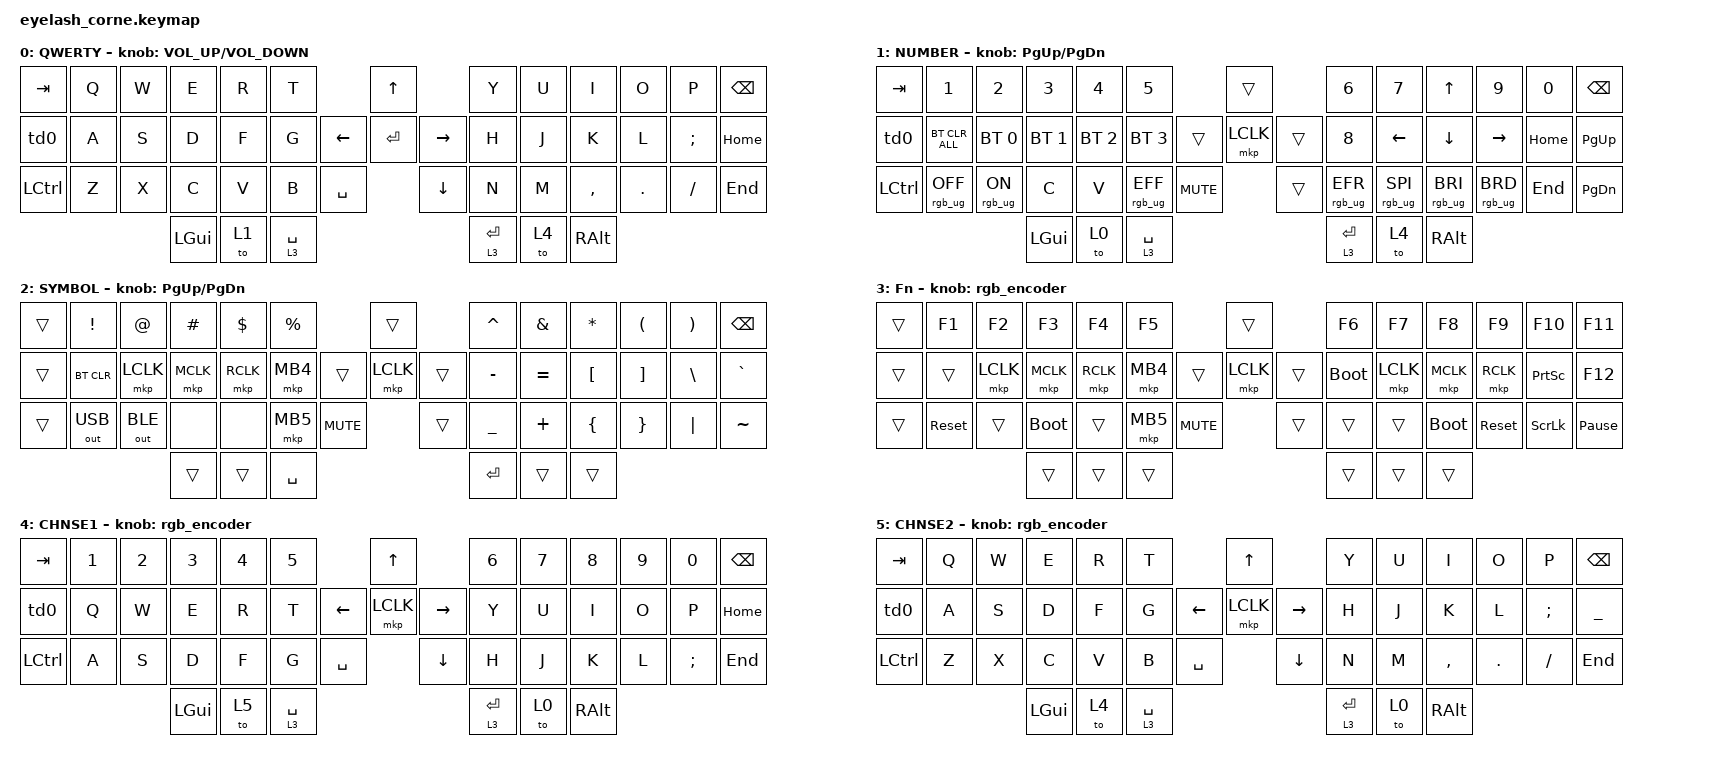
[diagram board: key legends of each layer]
#include <behaviors.dtsi>
#include <dt-bindings/zmk/bt.h>
#include <dt-bindings/zmk/keys.h>
#include <dt-bindings/zmk/mouse.h>
#include <dt-bindings/zmk/outputs.h>
#include <dt-bindings/zmk/rgb.h>

/ {
    behaviors {
        td0: td0 {
            compatible = "zmk,behavior-tap-dance";
            #binding-cells = <0>;
            bindings = <&kp LEFT_SHIFT>, <&kp CAPS>;
        };
    };

    rgb_encoder: rgb_encoder {
        compatible = "zmk,behavior-sensor-rotate";
        #sensor-binding-cells = <0>;
        bindings = <&rgb_ug RGB_BRI>, <&rgb_ug RGB_BRD>;
    };

    keymap {
        compatible = "zmk,keymap";

        default_layer {
            display-name = "QWERTY";

            bindings = <
&kp TAB    &kp Q  &kp W      &kp E     &kp R  &kp T                              &kp UP                &kp Y        &kp U  &kp I      &kp O    &kp P     &kp BSPC
&td0       &kp A  &kp S      &kp D     &kp F  &kp G                    &kp LEFT  &kp ENTER  &kp RIGHT  &kp H        &kp J  &kp K      &kp L    &kp SEMI  &kp HOME 
&kp LCTRL  &kp Z  &kp X      &kp C     &kp V  &kp B       &kp SPACE              &kp DOWN              &kp N        &kp M  &kp COMMA  &kp DOT  &kp FSLH  &kp END
                             &kp LGUI  &to 1  &lt 3 SPACE                                              &lt 3 ENTER  &to 4  &kp RALT
            >;

            sensor-bindings = <&inc_dec_kp C_VOLUME_UP C_VOLUME_DOWN>;
        };

        lower_layer {
            display-name = "NUMBER";
            bindings = <
&kp TAB    &kp N1           &kp N2          &kp N3        &kp N4        &kp N5                                &trans            &kp N6           &kp N7           &kp UP           &kp N9           &kp N0    &kp BSPC
&td0       &bt BT_CLR_ALL   &bt BT_SEL 0    &bt BT_SEL 1  &bt BT_SEL 2  &bt BT_SEL 3                  &trans  &mkp LCLK  &trans &kp N8         &kp LEFT         &kp DOWN           &kp RIGHT        &kp HOME  &kp PG_UP
&kp LCTRL  &rgb_ug RGB_OFF  &rgb_ug RGB_ON  &kp C         &kp V         &rgb_ug RGB_EFF &kp C_MUTE            &trans            &rgb_ug RGB_EFR  &rgb_ug RGB_SPI  &rgb_ug RGB_BRI  &rgb_ug RGB_BRD  &kp END   &kp PG_DN
                                            &kp LGUI      &to 0  &lt 3 SPACE                                              &lt 3 ENTER  &to 4  &kp RALT
            >;

            sensor-bindings = <&inc_dec_kp PG_UP PG_DN>;
        };

        raise_layer {
            display-name = "SYMBOL";
            bindings = <
&trans  &kp EXCL      &kp AT        &kp HASH   &kp DLLR   &kp PRCNT                       &trans            &kp CARET  &kp AMPS   &kp ASTRK  &kp LPAR  &kp RPAR  &kp BSPC
&trans  &bt BT_CLR    &mkp LCLK     &mkp MCLK  &mkp RCLK  &mkp MB4                &trans  &mkp LCLK  &trans &kp MINUS  &kp EQUAL  &kp LBKT   &kp RBKT  &kp BSLH  &kp GRAVE
&trans  &out OUT_USB  &out OUT_BLE  &none      &none      &mkp MB5  &kp C_MUTE            &trans            &kp UNDER  &kp PLUS   &kp LBRC   &kp RBRC  &kp PIPE  &kp TILDE
                                    &trans     &trans     &kp SPACE                                         &kp RET    &trans     &trans
            >;

            sensor-bindings = <&inc_dec_kp PG_UP PG_DN>;
        };

        layer_3 {
            display-name = "Fn";
            bindings = <
&trans  &kp F1      &kp F2      &kp F3       &kp F4     &kp F5                         &trans            &kp F6       &kp F7     &kp F8       &kp F9      &kp F10          &kp F11
&trans  &trans      &mkp LCLK   &mkp MCLK    &mkp RCLK  &mkp MB4               &trans  &mkp LCLK  &trans &bootloader  &mkp LCLK  &mkp MCLK    &mkp RCLK   &kp PRINTSCREEN  &kp F12
&trans  &sys_reset  &trans      &bootloader  &trans     &mkp MB5 &kp C_MUTE            &trans            &trans       &trans     &bootloader  &sys_reset  &kp SCROLLLOCK   &kp PAUSE_BREAK
                                &trans      &trans      &trans                                           &trans       &trans     &trans
            >;

            sensor-bindings = <&rgb_encoder>;
        };
        layer_4 {
            display-name = "CHNSE1";
            bindings = <
&kp TAB    &kp N1 &kp N2  &kp N3    &kp N4 &kp N5                       &kp UP                 &kp N6      &kp N7  &kp N8     &kp N9   &kp N0    &kp BSPC
&td0       &kp Q  &kp W   &kp E     &kp R  &kp T             &kp LEFT  &mkp LCLK  &kp RIGHT    &kp Y       &kp U   &kp I      &kp O    &kp P     &kp HOME
&kp LCTRL  &kp A  &kp S   &kp D     &kp F  &kp G  &kp SPACE            &kp DOWN                &kp H       &kp J   &kp K      &kp L    &kp SEMI   &kp End 
                          &kp LGUI  &to 5  &lt 3 SPACE                                              &lt 3 ENTER  &to 0  &kp RALT
            >;

            sensor-bindings = <&rgb_encoder>;
        };
        layer_5 {
            display-name = "CHNSE2";
            bindings = <
&kp TAB    &kp Q  &kp W   &kp E    &kp R  &kp T                       &kp UP                  &kp Y       &kp U   &kp I      &kp O    &kp P       &kp BSPC
&td0       &kp A  &kp S   &kp D    &kp F  &kp G             &kp LEFT  &mkp LCLK  &kp RIGHT    &kp H       &kp J   &kp K      &kp L    &kp SEMI    &kp UNDER
&kp LCTRL  &kp Z  &kp X   &kp C    &kp V  &kp B  &kp SPACE            &kp DOWN                &kp N        &kp M  &kp COMMA  &kp DOT  &kp FSLH    &kp End 
                          &kp LGUI  &to 4  &lt 3 SPACE                                              &lt 3 ENTER  &to 0  &kp RALT
            >;
            sensor-bindings = <&rgb_encoder>;
        };
    };
};
